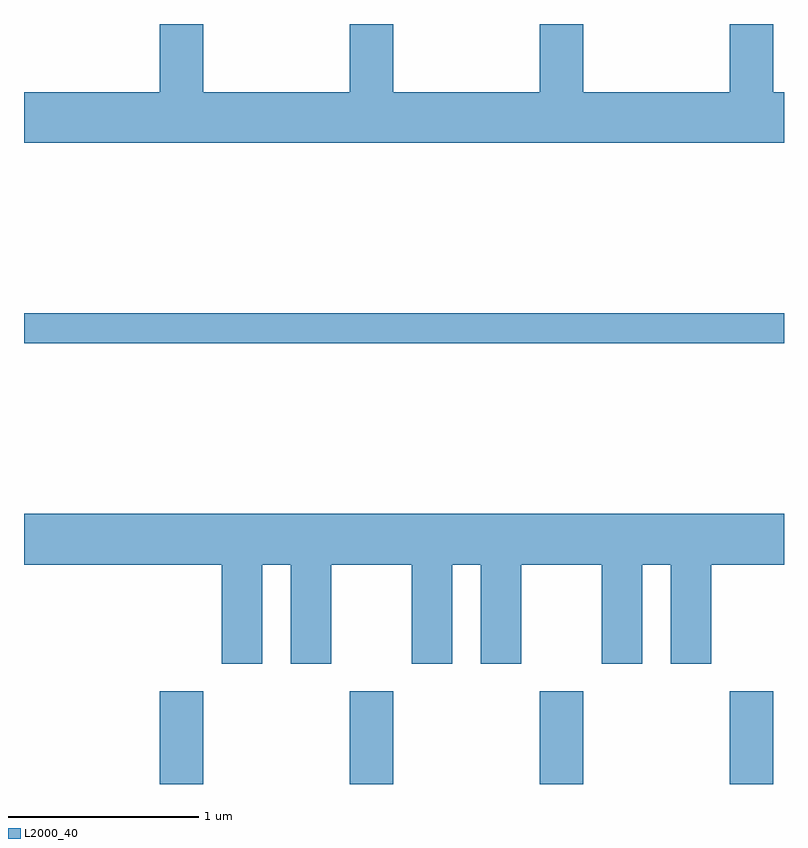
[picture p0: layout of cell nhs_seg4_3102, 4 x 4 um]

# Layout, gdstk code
import gdstk
lib = gdstk.Library(unit=1e-6, precision=1e-09)
def R(c, l, rs):  # rectangles x0, y0, x1, y1
    for r in rs: c.add(gdstk.rectangle(r[:2], r[2:], *l))
def A(c, l, x, y, w, h, nx, ny, dx, dy):  # array of equal rectangles
    R(c, l, [(x+i*dx, y+j*dy, x+i*dx+w, y+j*dy+h) for i in range(nx) for j in range(ny)])
def P(c, l, *ps):  # polygons
    for p in ps: c.add(gdstk.Polygon(p, *l))
L2000_40 = (2000, 40)

nhs_seg4_3102 = lib.new_cell('nhs_seg4_3102')
A(nhs_seg4_3102, L2000_40, 276.326, 1337.982, 0.228, 0.487, 4, 1, 1, 0)
R(nhs_seg4_3102, L2000_40, [(275.611,1340.301,279.611,1340.459)])
P(nhs_seg4_3102, L2000_40, [(279.611,1341.624),(279.554,1341.624),(279.554,1341.982),(279.326,1341.982),(279.326,1341.624),(278.554,1341.624),(278.554,1341.982),(278.326,1341.982),(278.326,1341.624),(277.554,1341.624),(277.554,1341.982),(277.326,1341.982),(277.326,1341.624),(276.554,1341.624),(276.554,1341.982),(276.326,1341.982),(276.326,1341.624),(275.611,1341.624),(275.611,1341.356),(279.611,1341.356)],
  [(276.864,1339.136),(277.016,1339.136),(277.016,1338.616),(277.229,1338.616),(277.229,1339.136),(277.651,1339.136),(277.651,1338.616),(277.864,1338.616),(277.864,1339.136),(278.016,1339.136),(278.016,1338.616),(278.229,1338.616),(278.229,1339.136),(278.651,1339.136),(278.651,1338.616),(278.864,1338.616),(278.864,1339.136),(279.016,1339.136),(279.016,1338.616),(279.229,1338.616),(279.229,1339.136),(279.611,1339.136),(279.611,1339.404),(275.611,1339.404),(275.611,1339.136),(276.651,1339.136),(276.651,1338.616),(276.864,1338.616)])

lib.write_gds('nhs_seg4_3102.gds')
